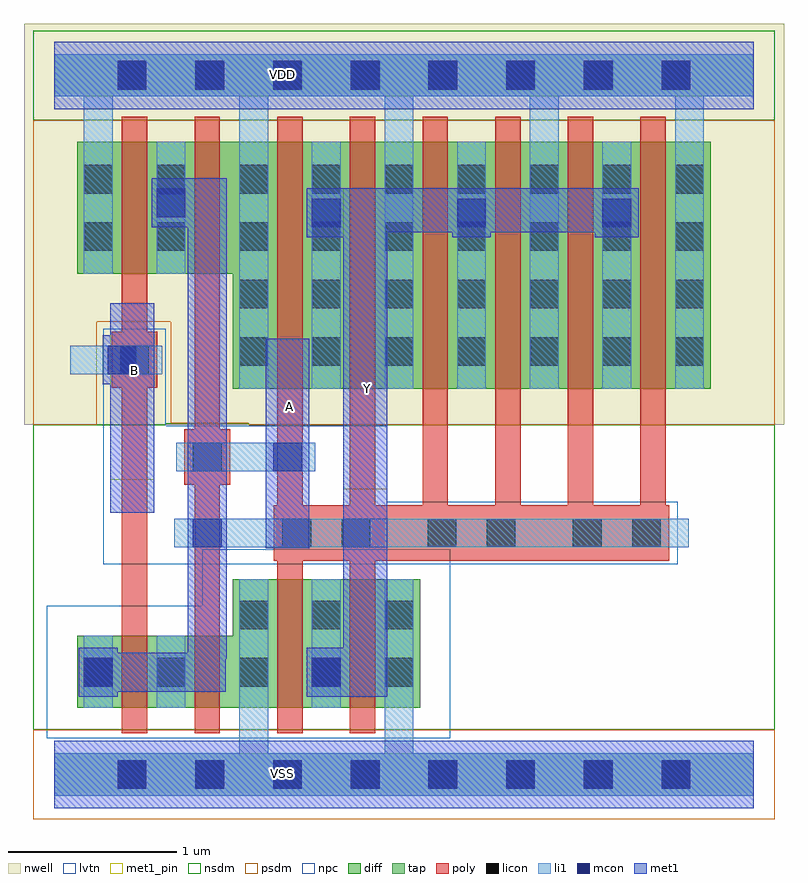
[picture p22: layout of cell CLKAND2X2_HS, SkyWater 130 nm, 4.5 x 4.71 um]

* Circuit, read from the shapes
.subckt CLKAND2X2_HS A B VDD VSS Y
XM1 n1 B n2 VSS sky130_fd_pr__nfet_01v8_lvt w=0.425 l=0.15
XM2 VSS A n1 VSS sky130_fd_pr__nfet_01v8_lvt w=0.425 l=0.15
XM3 Y n2 VSS VSS sky130_fd_pr__nfet_01v8_lvt w=0.76 l=0.15 m=2
XM4 n2 B VDD VDD sky130_fd_pr__pfet_01v8 w=0.78 l=0.15
XM5 VDD A n2 VDD sky130_fd_pr__pfet_01v8 w=0.78 l=0.15
XM6 Y n2 VDD VDD sky130_fd_pr__pfet_01v8 w=1.46 l=0.15 m=6
.ends

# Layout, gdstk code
from math import pi, radians
import gdstk
lib = gdstk.Library(unit=1e-6, precision=1e-09)
def R(c, l, rs):  # rectangles x0, y0, x1, y1
    for r in rs: c.add(gdstk.rectangle(r[:2], r[2:], *l))
def A(c, l, x, y, w, h, nx, ny, dx, dy):  # array of equal rectangles
    R(c, l, [(x+i*dx, y+j*dy, x+i*dx+w, y+j*dy+h) for i in range(nx) for j in range(ny)])
def P(c, l, *ps):  # polygons
    for p in ps: c.add(gdstk.Polygon(p, *l))
nwell = (64, 20)
diff = (65, 20)
tap = (65, 44)
poly = (66, 20)
licon = (66, 44)
li1 = (67, 20)
mcon = (67, 44)
met1_pin = (68, 16)
met1 = (68, 20)
nsdm = (93, 44)
psdm = (94, 20)
npc = (95, 20)
lvtn = (125, 44)

l1m1_c_cdns_750721774072 = lib.new_cell('L1M1_C_CDNS_750721774072')
R(l1m1_c_cdns_750721774072, li1, [(-0.085,-0.165,0.085,0.165)])
R(l1m1_c_cdns_750721774072, mcon, [(-0.085,-0.085,0.085,0.085)])
R(l1m1_c_cdns_750721774072, met1, [(-0.115,-0.145,0.115,0.145)])

l1m1_c_cdns_750721774074 = lib.new_cell('L1M1_C_CDNS_750721774074')
R(l1m1_c_cdns_750721774074, li1, [(-0.165,-0.085,0.165,0.085)])
R(l1m1_c_cdns_750721774074, mcon, [(-0.085,-0.085,0.085,0.085)])
R(l1m1_c_cdns_750721774074, met1, [(-0.115,-0.145,0.115,0.145)])

licondiff_c_cdns_7507217 = lib.new_cell('LICONDIFF_C_CDNS_750721774075')
R(licondiff_c_cdns_7507217, diff, [(-0.125,-0.145,0.125,0.145)])
R(licondiff_c_cdns_7507217, licon, [(-0.085,-0.085,0.085,0.085), (-0.085,-0.085,0.085,0.085)])

pyl1con_c_cdns_750721774 = lib.new_cell('PYL1CON_C_CDNS_750721774073')
R(pyl1con_c_cdns_750721774, poly, [(-0.135,-0.165,0.135,0.165)])
R(pyl1con_c_cdns_750721774, licon, [(-0.085,-0.085,0.085,0.085)])
R(pyl1con_c_cdns_750721774, npc, [(-0.185,-0.185,0.185,0.185)])

clkand2x2_hs = lib.new_cell('CLKAND2X2_HS')
R(clkand2x2_hs, nwell, [(-0.18,2.07,4.32,4.305), (0.875,2.105,4.065,3.925), (-0.045,2.785,0.955,3.925), (0.595,2.785,1.235,3.925), (-0.18,3.875,4.32,4.445)])
A(clkand2x2_hs, diff, 1.32, 2.285, 0.15, 1.46, 6, 1, 0.43, 0)
A(clkand2x2_hs, diff, 1.47, 2.285, 0.28, 1.46, 5, 1, 0.43, 0)
R(clkand2x2_hs, diff, [(0.135,0.395,0.4,0.82), (0.4,0.395,0.55,0.82), (0.55,0.395,0.775,0.82), (0.775,0.395,0.83,0.82), (0.83,0.395,0.98,0.82), (0.98,0.395,1.055,0.82), (1.055,0.395,1.32,1.155), (1.32,0.395,1.47,1.155), (1.47,0.395,1.75,1.155), (1.75,0.395,1.9,1.155), (1.9,0.395,2.165,1.155), (1.055,2.285,1.32,3.745), (3.62,2.285,3.885,3.745), (0.135,2.965,0.4,3.745), (0.4,2.965,0.55,3.745), (0.55,2.965,0.775,3.745), (0.775,2.965,0.83,3.745), (0.83,2.965,0.98,3.745), (0.98,2.965,1.055,3.745)])
A(clkand2x2_hs, poly, 1.32, 2.135, 0.15, 0.055, 6, 2, 0.43, 1.705)
A(clkand2x2_hs, poly, 1.32, 2.19, 0.15, 0.095, 6, 2, 0.43, 1.555)
A(clkand2x2_hs, poly, 1.32, 2.285, 0.15, 1.46, 6, 1, 0.43, 0)
R(clkand2x2_hs, poly, [(0.4,0.245,0.55,0.3), (0.83,0.245,0.98,0.3), (1.32,0.245,1.47,0.3), (1.75,0.245,1.9,0.3), (0.4,0.3,0.55,0.395), (0.83,0.3,0.98,0.395), (1.32,0.3,1.47,0.395), (1.75,0.3,1.9,0.395), (0.4,0.395,0.55,0.82), (0.83,0.395,0.98,0.82), (1.32,0.395,1.47,1.155), (1.75,0.395,1.9,1.155), (0.4,0.82,0.55,0.915), (0.83,0.82,0.98,0.915), (0.4,0.915,0.55,0.97), (0.83,0.915,0.98,0.97), (1.32,1.155,1.47,1.25), (1.75,1.155,1.9,1.25), (1.32,1.25,1.47,1.305), (1.75,1.25,1.9,1.305), (1.92,1.265,3.02,1.595), (0.4,2.815,0.55,2.87), (0.83,2.815,0.98,2.87), (0.4,2.87,0.55,2.965), (0.83,2.87,0.98,2.965), (0.4,2.965,0.55,3.745), (0.83,2.965,0.98,3.745), (0.4,3.745,0.55,3.84), (0.83,3.745,0.98,3.84), (0.4,3.84,0.55,3.895), (0.83,3.84,0.98,3.895)])
A(clkand2x2_hs, licon, 0.375, -0.085, 0.17, 0.17, 8, 1, 0.46, 0)
A(clkand2x2_hs, licon, 1.095, 0.52, 0.17, 0.17, 3, 2, 0.43, 0.34)
A(clkand2x2_hs, licon, 1.095, 2.42, 0.17, 0.17, 7, 4, 0.43, 0.34)
A(clkand2x2_hs, licon, 0.375, 4.055, 0.17, 0.17, 7, 1, 0.46, 0)
R(clkand2x2_hs, licon, [(0.175,0.52,0.345,0.69), (0.175,3.1,0.345,3.27), (0.605,3.1,0.775,3.27), (0.175,3.44,0.345,3.61), (0.605,3.44,0.775,3.61), (3.135,4.055,3.305,4.225), (3.595,4.055,3.765,4.225), (3.595,4.055,3.765,4.225)])
A(clkand2x2_hs, li1, 1.095, 0.395, 0.17, 0.76, 3, 1, 0.43, 0)
A(clkand2x2_hs, li1, 1.095, 2.285, 0.17, 1.46, 7, 1, 0.43, 0)
R(clkand2x2_hs, li1, [(1.955,0,2.125,0.59), (1.095,0.005,1.265,0.59), (0.175,0.395,0.345,0.82), (0.175,2.965,0.345,3.745), (0.605,2.965,0.775,3.745)])
A(clkand2x2_hs, mcon, 0.375, -0.085, 0.17, 0.17, 8, 2, 0.46, 4.14)
R(clkand2x2_hs, met1_pin, [(1.25,1.34,1.51,2.58), (1.71,1.69,1.97,3.47), (0.33,1.745,0.59,2.79)])
R(clkand2x2_hs, nsdm, [(-0.005,0.265,0.785,0.95), (0.765,0.265,0.935,0.95), (0.915,0.265,2.305,1.285), (-0.125,3.875,4.265,4.405), (-0.125,3.93,4.265,4.35)])
P(clkand2x2_hs, nsdm, [(4.265,2.07),(1.15,2.07),(1.15,2.08),(0.66,2.08),(0.66,2.07),(-0.125,2.07),(-0.125,0.265),(4.265,0.265)])
R(clkand2x2_hs, psdm, [(-0.125,-0.265,4.265,0.265), (-0.125,-0.21,4.265,0.21), (0.915,2.155,4.025,3.875), (-0.005,2.835,0.785,3.875), (0.765,2.835,0.935,3.875)])
P(clkand2x2_hs, psdm, [(4.265,3.875),(-0.125,3.875),(-0.125,2.07),(0.25,2.07),(0.25,2.68),(0.69,2.68),(0.69,2.08),(1.15,2.08),(1.15,2.07),(4.265,2.07)])
R(clkand2x2_hs, npc, [(1.25,1.245,3.69,1.615), (0.72,1.695,1.09,2.065)])
P(clkand2x2_hs, npc, [(1.97,2.065),(0.66,2.065),(0.66,2.64),(0.29,2.64),(0.29,1.245),(1.97,1.245)])
R(clkand2x2_hs, lvtn, [(-0.045,0.215,0.955,1), (0.595,0.215,1.235,1), (0.875,0.215,2.345,1.335)])
clkand2x2_hs.add(gdstk.FlexPath([(2.255,2.135),(2.255,1.305)], 0.15, ends="flush", simple_path=True, layer=66, datatype=20))  # poly
clkand2x2_hs.add(gdstk.FlexPath([(3.545,2.135),(3.545,1.305)], 0.15, ends="flush", simple_path=True, layer=66, datatype=20))  # poly
clkand2x2_hs.add(gdstk.FlexPath([(2.685,2.135),(2.685,1.305)], 0.15, ends="flush", simple_path=True, layer=66, datatype=20))  # poly
clkand2x2_hs.add(gdstk.FlexPath([(1.435,1.43),(1.785,1.43)], 0.33, ends="flush", simple_path=True, layer=66, datatype=20))  # poly
clkand2x2_hs.add(gdstk.FlexPath([(3.115,2.135),(3.115,1.305)], 0.15, ends="flush", simple_path=True, layer=66, datatype=20))  # poly
clkand2x2_hs.add(gdstk.FlexPath([(0.475,2.815),(0.475,0.97)], 0.15, ends="flush", simple_path=True, layer=66, datatype=20))  # poly
clkand2x2_hs.add(gdstk.FlexPath([(3.155,1.43),(3.505,1.43)], 0.33, ends="flush", simple_path=True, layer=66, datatype=20))  # poly
clkand2x2_hs.add(gdstk.FlexPath([(1.825,2.135),(1.825,1.305)], 0.15, ends="flush", simple_path=True, layer=66, datatype=20))  # poly
clkand2x2_hs.add(gdstk.FlexPath([(0.905,2.815),(0.905,0.97)], 0.15, ends="flush", simple_path=True, layer=66, datatype=20))  # poly
clkand2x2_hs.add(gdstk.FlexPath([(1.395,2.135),(1.395,1.305)], 0.15, ends="flush", simple_path=True, layer=66, datatype=20))  # poly
clkand2x2_hs.add(gdstk.FlexPath([(2.295,1.43),(2.645,1.43)], 0.33, ends="flush", simple_path=True, layer=66, datatype=20))  # poly
clkand2x2_hs.add(gdstk.FlexPath([(1.05,1.88),(1.38,1.88)], 0.17, ends="flush", simple_path=True, layer=67, datatype=20))  # li1
clkand2x2_hs.add(gdstk.FlexPath([(1.18,3.55),(1.18,4.14)], 0.17, ends=(0, 0.125), simple_path=True, layer=67, datatype=20))  # li1
clkand2x2_hs.add(gdstk.FlexPath([(0.72,1.88),(1.05,1.88)], 0.17, ends="flush", simple_path=True, layer=67, datatype=20))  # li1
clkand2x2_hs.add(gdstk.FlexPath([(0.26,3.55),(0.26,4.14)], 0.17, ends="flush", simple_path=True, layer=67, datatype=20))  # li1
clkand2x2_hs.add(gdstk.FlexPath([(0.095,2.455),(0.64,2.455)], 0.17, ends="flush", simple_path=True, layer=67, datatype=20))  # li1
clkand2x2_hs.add(gdstk.FlexPath([(2.9,4.14),(3.76,4.14)], 0.25, ends=(0.085, 0.085), simple_path=True, layer=67, datatype=20))  # li1
clkand2x2_hs.add(gdstk.FlexPath([(3.76,4.14),(4.14,4.14)], 0.25, ends=(0.085, 0), simple_path=True, layer=67, datatype=20))  # li1
clkand2x2_hs.add(gdstk.FlexPath([(0.71,1.43),(3.755,1.43)], 0.17, ends="flush", simple_path=True, layer=67, datatype=20))  # li1
clkand2x2_hs.add(gdstk.FlexPath([(0.295,2.455),(0.64,2.455)], 0.17, ends="flush", simple_path=True, layer=67, datatype=20))  # li1
clkand2x2_hs.add(gdstk.FlexPath([(2.04,4.14),(2.9,4.14)], 0.25, ends=(0.085, 0.085), simple_path=True, layer=67, datatype=20))  # li1
clkand2x2_hs.add(gdstk.FlexPath([(0.26,4.14),(1.18,4.14)], 0.25, ends=(0.085, 0.085), simple_path=True, layer=67, datatype=20))  # li1
clkand2x2_hs.add(gdstk.FlexPath([(2.9,3.55),(2.9,4.14)], 0.17, ends=(0, 0.125), simple_path=True, layer=67, datatype=20))  # li1
clkand2x2_hs.add(gdstk.FlexPath([(3.76,3.55),(3.76,4.14)], 0.17, ends=(0, 0.125), simple_path=True, layer=67, datatype=20))  # li1
clkand2x2_hs.add(gdstk.FlexPath([(0.69,0.395),(0.69,0.82)], 0.17, ends="flush", simple_path=True, layer=67, datatype=20))  # li1
clkand2x2_hs.add(gdstk.FlexPath([(0,4.14),(0.26,4.14)], 0.25, ends=(0, 0.085), simple_path=True, layer=67, datatype=20))  # li1
clkand2x2_hs.add(gdstk.FlexPath([(2.04,3.55),(2.04,4.14)], 0.17, ends=(0, 0.125), simple_path=True, layer=67, datatype=20))  # li1
clkand2x2_hs.add(gdstk.FlexPath([(1.18,4.14),(2.04,4.14)], 0.25, ends=(0.085, 0.085), simple_path=True, layer=67, datatype=20))  # li1
clkand2x2_hs.add(gdstk.FlexPath([(0,0),(4.14,0)], 0.25, ends="flush", simple_path=True, layer=67, datatype=20))  # li1
clkand2x2_hs.add(gdstk.FlexPath([(0,0),(4.14,0)], 0.4, ends="flush", simple_path=True, layer=68, datatype=16))  # met1_pin
clkand2x2_hs.add(gdstk.FlexPath([(0,4.14),(4.14,4.14)], 0.4, ends="flush", simple_path=True, layer=68, datatype=16))  # met1_pin
clkand2x2_hs.add(gdstk.FlexPath([(0.9,0.605),(0.255,0.605)], 0.23, ends=(0.115, 0), simple_path=True, layer=68, datatype=20))  # met1
clkand2x2_hs.add(gdstk.FlexPath([(0.46,2.79),(0.46,1.55)], 0.26, ends="flush", simple_path=True, layer=68, datatype=20))  # met1
clkand2x2_hs.add(gdstk.FlexPath([(1.84,0.785),(1.84,3.34)], 0.26, ends="extended", simple_path=True, layer=68, datatype=20))  # met1
clkand2x2_hs.add(gdstk.FlexPath([(0.905,3.53),(0.905,0.8)], 0.23, ends=(0, 0.115), simple_path=True, layer=68, datatype=20))  # met1
clkand2x2_hs.add(gdstk.FlexPath([(1.38,2.58),(1.38,1.34)], 0.26, ends="flush", simple_path=True, layer=68, datatype=20))  # met1
clkand2x2_hs.add(gdstk.FlexPath([(0,0),(4.14,0)], 0.4, ends="flush", simple_path=True, layer=68, datatype=20))  # met1
clkand2x2_hs.add(gdstk.FlexPath([(0,4.14),(4.14,4.14)], 0.4, ends="flush", simple_path=True, layer=68, datatype=20))  # met1
clkand2x2_hs.add(gdstk.FlexPath([(1.84,0.46),(1.84,0.785)], 0.26, ends="flush", simple_path=True, layer=68, datatype=20))  # met1
clkand2x2_hs.add(gdstk.FlexPath([(1.84,3.34),(1.495,3.34)], 0.26, ends=(0.13, 0), simple_path=True, layer=68, datatype=20))  # met1
clkand2x2_hs.add(gdstk.FlexPath([(1.84,3.34),(3.33,3.34)], 0.26, ends="extended", simple_path=True, layer=68, datatype=20))  # met1
clkand2x2_hs.add(gdstk.FlexPath([(3.33,3.34),(3.33,3.325)], 0.26, ends=(0.13, 0.145), simple_path=True, layer=68, datatype=20))  # met1
clkand2x2_hs.add(gdstk.FlexPath([(0,0),(4.14,0)], 0.25, ends="flush", simple_path=True, layer=65, datatype=44))  # tap
clkand2x2_hs.add(gdstk.FlexPath([(0,4.14),(4.14,4.14)], 0.25, ends="flush", simple_path=True, layer=65, datatype=44))  # tap
clkand2x2_hs.add(gdstk.Reference(l1m1_c_cdns_750721774072, (3.33,3.325)))
clkand2x2_hs.add(gdstk.Reference(l1m1_c_cdns_750721774072, (2.47,3.325)))
clkand2x2_hs.add(gdstk.Reference(l1m1_c_cdns_750721774072, (1.61,0.605)))
clkand2x2_hs.add(gdstk.Reference(l1m1_c_cdns_750721774072, (1.61,3.325)))
clkand2x2_hs.add(gdstk.Reference(l1m1_c_cdns_750721774072, (0.69,3.385)))
clkand2x2_hs.add(gdstk.Reference(l1m1_c_cdns_750721774072, (0.26,0.605)))
clkand2x2_hs.add(gdstk.Reference(l1m1_c_cdns_750721774074, (1.38,1.88)))
clkand2x2_hs.add(gdstk.Reference(l1m1_c_cdns_750721774074, (0.4,2.455)))
clkand2x2_hs.add(gdstk.Reference(l1m1_c_cdns_750721774074, (0.905,1.43), rotation=pi, x_reflection=True))
clkand2x2_hs.add(gdstk.Reference(licondiff_c_cdns_7507217, (0.69,0.605)))
clkand2x2_hs.add(gdstk.Reference(pyl1con_c_cdns_750721774, (3.505,1.43), x_reflection=True))
clkand2x2_hs.add(gdstk.Reference(pyl1con_c_cdns_750721774, (3.155,1.43), rotation=pi))
clkand2x2_hs.add(gdstk.Reference(pyl1con_c_cdns_750721774, (1.785,1.43), x_reflection=True))
clkand2x2_hs.add(gdstk.Reference(pyl1con_c_cdns_750721774, (1.435,1.43), rotation=pi))
clkand2x2_hs.add(gdstk.Reference(pyl1con_c_cdns_750721774, (0.905,1.88), rotation=pi, x_reflection=True))
clkand2x2_hs.add(gdstk.Reference(pyl1con_c_cdns_750721774, (0.475,2.455), rotation=pi, x_reflection=True))
clkand2x2_hs.add(gdstk.Reference(pyl1con_c_cdns_750721774, (2.295,1.43), rotation=pi))
clkand2x2_hs.add(gdstk.Reference(pyl1con_c_cdns_750721774, (2.645,1.43), x_reflection=True))
clkand2x2_hs.add(gdstk.Label('B', (0.472,2.392), layer=68, texttype=5))
clkand2x2_hs.add(gdstk.Label('VDD', (1.35,4.145), layer=68, texttype=5))
clkand2x2_hs.add(gdstk.Label('A', (1.392,2.181), layer=68, texttype=5))
clkand2x2_hs.add(gdstk.Label('VSS', (1.35,0.005), layer=68, texttype=5))
clkand2x2_hs.add(gdstk.Label('Y', (1.852,2.284), layer=68, texttype=5))

lib.write_gds('CLKAND2X2_HS.gds')
